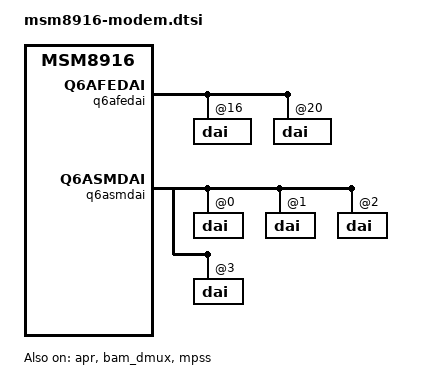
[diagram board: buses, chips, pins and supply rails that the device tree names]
// SPDX-License-Identifier: GPL-2.0-only
#include <dt-bindings/sound/qcom,q6afe.h>
#include <dt-bindings/sound/qcom,q6asm.h>

&apr {
	status = "okay";
};

&bam_dmux {
	status = "okay";
};

&bam_dmux_dma {
	status = "okay";
};

&lpass {
	status = "reserved"; /* Controlled by QDSP6 */
};

&mpss {
	status = "okay";
};

&q6afedai {
	dai@16 {
		reg = <PRIMARY_MI2S_RX>;
		qcom,sd-lines = <0 1>;
	};
	dai@20 {
		reg = <TERTIARY_MI2S_TX>;
		qcom,sd-lines = <0 1>;
	};
};

&q6asmdai {
	dai@0 {
		reg = <0>;
		direction = <Q6ASM_DAI_RX>;
	};
	dai@1 {
		reg = <1>;
		direction = <Q6ASM_DAI_TX>;
	};
	dai@2 {
		reg = <2>;
		direction = <Q6ASM_DAI_RX>;
	};
	dai@3 {
		reg = <3>;
		direction = <Q6ASM_DAI_RX>;
		is-compress-dai;
	};
};

&sound {
	compatible = "qcom,msm8916-qdsp6-sndcard";
	model = "msm8916";

	pinctrl-names = "default", "sleep";
	pinctrl-0 = <&cdc_pdm_lines_act>;
	pinctrl-1 = <&cdc_pdm_lines_sus>;

	dai-link-multimedia1 {
		link-name = "MultiMedia1";
		cpu {
			sound-dai = <&q6asmdai MSM_FRONTEND_DAI_MULTIMEDIA1>;
		};
	};

	dai-link-multimedia2 {
		link-name = "MultiMedia2";
		cpu {
			sound-dai = <&q6asmdai MSM_FRONTEND_DAI_MULTIMEDIA2>;
		};
	};

	dai-link-multimedia3 {
		link-name = "MultiMedia3";
		cpu {
			sound-dai = <&q6asmdai MSM_FRONTEND_DAI_MULTIMEDIA3>;
		};
	};

	dai-link-multimedia4 {
		link-name = "MultiMedia4";
		cpu {
			sound-dai = <&q6asmdai MSM_FRONTEND_DAI_MULTIMEDIA4>;
		};
	};

	sound_dai_primary: dai-link-primary {
		link-name = "Primary MI2S";
		cpu {
			sound-dai = <&q6afedai PRIMARY_MI2S_RX>;
		};
		platform {
			sound-dai = <&q6routing>;
		};
		codec {
			sound-dai = <&lpass_codec 0>, <&wcd_codec 0>;
		};
	};

	sound_dai_secondary: dai-link-secondary {
		link-name = "Secondary MI2S";
		status = "disabled"; /* Needs extra codec configuration */
		cpu {
			sound-dai = <&q6afedai SECONDARY_MI2S_RX>;
		};
		platform {
			sound-dai = <&q6routing>;
		};
	};

	sound_dai_tertiary: dai-link-tertiary {
		link-name = "Tertiary MI2S";
		cpu {
			sound-dai = <&q6afedai TERTIARY_MI2S_TX>;
		};
		platform {
			sound-dai = <&q6routing>;
		};
		codec {
			sound-dai = <&lpass_codec 1>, <&wcd_codec 1>;
		};
	};

	sound_dai_quaternary: dai-link-quaternary {
		link-name = "Quaternary MI2S";
		status = "disabled"; /* Needs extra codec configuration */
		cpu {
			sound-dai = <&q6afedai QUATERNARY_MI2S_RX>;
		};
		platform {
			sound-dai = <&q6routing>;
		};
	};
};
